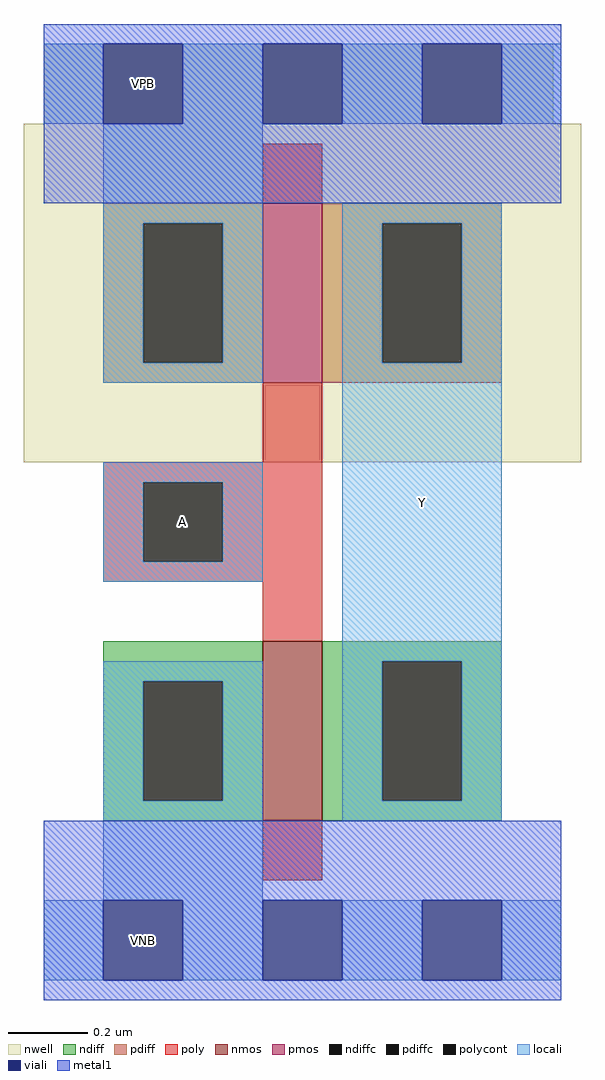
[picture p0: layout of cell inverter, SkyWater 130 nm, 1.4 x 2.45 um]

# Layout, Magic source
magic
tech sky130A
<< nwell >>
rect -50 210 78 230
rect -55 125 85 210
<< nmos >>
rect 5 35 20 80
<< pmos >>
rect 5 145 20 190
<< ndiff >>
rect -35 70 5 80
rect -35 40 -25 70
rect -5 40 5 70
rect -35 35 5 40
rect 20 75 65 80
rect 20 40 35 75
rect 55 40 65 75
rect 20 35 65 40
<< pdiff >>
rect -35 185 5 190
rect -35 150 -25 185
rect -5 150 5 185
rect -35 145 5 150
rect 20 185 65 190
rect 20 150 35 185
rect 55 150 65 185
rect 20 145 65 150
<< ndiffc >>
rect -25 40 -5 70
rect 35 40 55 75
<< pdiffc >>
rect -25 150 -5 185
rect 35 150 55 185
<< poly >>
rect 5 190 20 205
rect 5 125 20 145
rect -35 120 20 125
rect -35 100 -25 120
rect -5 100 20 120
rect -35 95 20 100
rect 5 80 20 95
rect 5 20 20 35
<< polycont >>
rect -25 100 -5 120
<< locali >>
rect -50 210 -35 230
rect -15 210 5 230
rect 25 210 45 230
rect 65 210 80 230
rect -35 185 5 210
rect -35 150 -25 185
rect -5 150 5 185
rect -35 145 5 150
rect 25 185 65 190
rect 25 150 35 185
rect 55 150 65 185
rect -35 120 5 125
rect -35 100 -25 120
rect -5 100 5 120
rect -35 95 5 100
rect 25 75 65 150
rect -35 70 5 75
rect -35 40 -25 70
rect -5 40 5 70
rect -35 15 5 40
rect 25 40 35 75
rect 55 40 65 75
rect 25 35 65 40
rect -50 -5 -35 15
rect -15 -5 5 15
rect 25 -5 45 15
rect 65 -5 80 15
<< viali >>
rect -35 210 -15 230
rect 5 210 25 230
rect 45 210 65 230
rect -35 -5 -15 15
rect 5 -5 25 15
rect 45 -5 65 15
<< metal1 >>
rect -50 230 80 235
rect -50 210 -35 230
rect -15 210 5 230
rect 25 210 45 230
rect 65 210 80 230
rect -50 190 80 210
rect -50 15 80 35
rect -50 -5 -35 15
rect -15 -5 5 15
rect 25 -5 45 15
rect 65 -5 80 15
rect -50 -10 80 -5
<< labels >>
rlabel locali 35 105 55 125 1 Y
rlabel polycont -25 100 -5 120 1 A
rlabel viali -35 210 -15 230 1 VPB
rlabel viali -35 210 -15 230 1 VPWR
rlabel viali -35 -5 -15 15 1 VNB
rlabel viali -35 -5 -15 15 1 VGND
<< end >>
